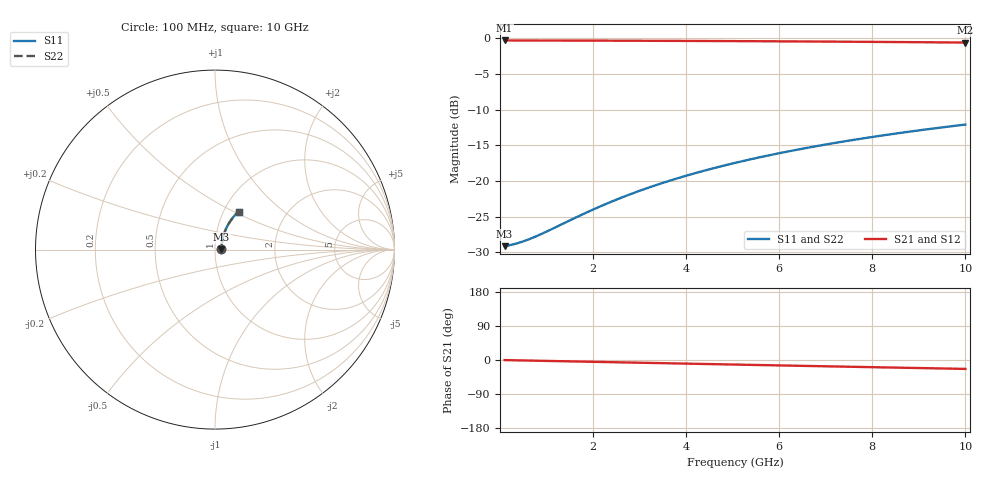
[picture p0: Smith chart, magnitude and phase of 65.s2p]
# Hz S RI R 50.00
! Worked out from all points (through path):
!   100 points, 100 MHz to 10 GHz, reference 50 ohm
!   highest |S21| = -0.31 dB at 100 MHz (marker M1); lowest = -0.6 dB at 10 GHz (marker M2)
!   group delay of S21, straight-line fit = 6.53 ps
!   lowest |S11| = -29.1 dB at 100 MHz (marker M3), VSWR 1.07, Z = 53.6 + j0.262 ohm
!   |S11| at or under -10 dB: start of sweep to end of sweep
!   |S22| runs from -29.1 to -12.1 dB; largest |S21 - S12| = 0
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1e8  0.0349 0.00244  0.9651 -0.00404  0.9651 -0.00404  0.0349 0.00244
3e8  0.0354 0.00733  0.9646 -0.0121  0.9646 -0.0121  0.0354 0.00733
4e8  0.0356 0.00976  0.9644 -0.0162  0.9644 -0.0162  0.0356 0.00976
5e8  0.0358 0.0122  0.9642 -0.0202  0.9642 -0.0202  0.0358 0.0122
7e8  0.0362 0.0171  0.9637 -0.0283  0.9637 -0.0283  0.0362 0.0171
1e9  0.037 0.0243  0.9629 -0.0403  0.9629 -0.0403  0.037 0.0243
1.8e9  0.0397 0.0436  0.9599 -0.0724  0.9599 -0.0724  0.0397 0.0436
2.2e9  0.0415 0.0532  0.9579 -0.0884  0.9579 -0.0884  0.0415 0.0532
2.6e9  0.0435 0.0627  0.9555 -0.1042  0.9555 -0.1042  0.0435 0.0627
3e9  0.0459 0.0721  0.9529 -0.12  0.9529 -0.12  0.0459 0.0721
3.4e9  0.0486 0.0813  0.9498 -0.1357  0.9498 -0.1357  0.0486 0.0813
3.8e9  0.0516 0.0905  0.9465 -0.1513  0.9465 -0.1513  0.0516 0.0905
4.2e9  0.0549 0.0996  0.9428 -0.1668  0.9428 -0.1668  0.0549 0.0996
4.6e9  0.0584 0.1085  0.9387 -0.1821  0.9387 -0.1821  0.0584 0.1085
5.1e9  0.0633 0.1195  0.9333 -0.2011  0.9333 -0.2011  0.0633 0.1195
5.5e9  0.0675 0.128  0.9285 -0.2161  0.9285 -0.2161  0.0675 0.128
5.9e9  0.0719 0.1365  0.9235 -0.2309  0.9235 -0.2309  0.0719 0.1365
6.7e9  0.0816 0.1528  0.9124 -0.2601  0.9124 -0.2601  0.0816 0.1528
7.5e9  0.0923 0.1683  0.9003 -0.2885  0.9003 -0.2885  0.0923 0.1683
8.4e9  0.1053 0.1848  0.8853 -0.3195  0.8853 -0.3195  0.1053 0.1848
9.2e9  0.1178 0.1985  0.871 -0.3461  0.871 -0.3461  0.1178 0.1985
1e10  0.131 0.2113  0.8557 -0.3718  0.8557 -0.3718  0.131 0.2113
